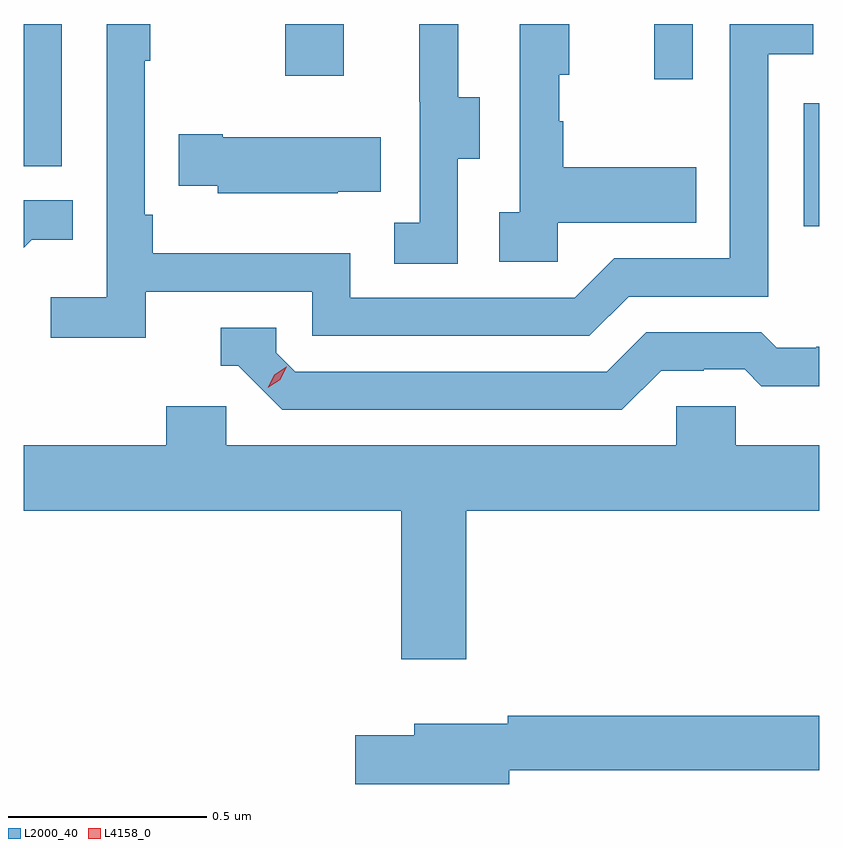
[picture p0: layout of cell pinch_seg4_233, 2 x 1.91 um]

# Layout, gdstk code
import gdstk
lib = gdstk.Library(unit=1e-6, precision=1e-09)
def R(c, l, rs):  # rectangles x0, y0, x1, y1
    for r in rs: c.add(gdstk.rectangle(r[:2], r[2:], *l))
def P(c, l, *ps):  # polygons
    for p in ps: c.add(gdstk.Polygon(p, *l))
L2000_40 = (2000, 40)
L4158_0 = (4158, 0)

pinch_seg4_233 = lib.new_cell('pinch_seg4_233')
R(pinch_seg4_233, L2000_40, [(1017.168,832.167,1017.207,832.476), (1015.207,832.317,1015.303,832.675), (1016.792,832.536,1016.889,832.675), (1015.864,832.545,1016.011,832.675)])
P(pinch_seg4_233, L2000_40, [(1016.55,832.175),(1016.897,832.175),(1016.897,832.315),(1016.563,832.315),(1016.563,832.43),(1016.553,832.43),(1016.553,832.548),(1016.578,832.548),(1016.578,832.675),(1016.454,832.675),(1016.454,832.202),(1016.403,832.202),(1016.403,832.077),(1016.55,832.077)],
  [(1015.514,832.002),(1015.932,832.002),(1015.932,831.891),(1016.629,831.891),(1016.728,831.99),(1017.078,831.99),(1017.078,832.599),(1017.191,832.599),(1017.191,832.675),(1016.982,832.675),(1016.982,832.086),(1016.691,832.086),(1016.592,831.987),(1016.028,831.987),(1016.028,832.099),(1015.532,832.099),(1015.532,832.195),(1015.512,832.195),(1015.512,832.583),(1015.525,832.583),(1015.525,832.675),(1015.416,832.675),(1015.416,831.988),(1015.275,831.988),(1015.275,831.886),(1015.514,831.886)],
  [(1016.298,832.336),(1016.353,832.336),(1016.353,832.491),(1016.299,832.491),(1016.299,832.675),(1016.201,832.675),(1016.201,832.479),(1016.202,832.479),(1016.202,832.175),(1016.139,832.175),(1016.139,832.072),(1016.298,832.072)],
  [(1015.997,832.253),(1016.105,832.253),(1016.105,832.39),(1015.708,832.39),(1015.708,832.398),(1015.597,832.398),(1015.597,832.268),(1015.695,832.268),(1015.695,832.25),(1015.997,832.25)],
  [(1015.227,832.133),(1015.331,832.133),(1015.331,832.232),(1015.207,832.232),(1015.207,832.113)],
  [(1016.809,831.804),(1016.916,831.804),(1016.916,831.807),(1017.019,831.807),(1017.061,831.765),(1017.207,831.765),(1017.207,831.864),(1017.199,831.864),(1017.199,831.861),(1017.1,831.861),(1017.061,831.9),(1016.772,831.9),(1016.673,831.801),(1015.89,831.801),(1015.842,831.849),(1015.842,831.912),(1015.703,831.912),(1015.703,831.816),(1015.746,831.816),(1015.857,831.705),(1016.71,831.705)],
  [(1016.32,831.452),(1017.207,831.452),(1017.207,831.616),(1016.997,831.616),(1016.997,831.714),(1016.847,831.714),(1016.847,831.616),(1015.716,831.616),(1015.716,831.714),(1015.565,831.714),(1015.565,831.616),(1015.207,831.616),(1015.207,831.452),(1016.156,831.452),(1016.156,831.078),(1016.32,831.078)],
  [(1016.428,830.8),(1017.207,830.8),(1017.207,830.936),(1016.424,830.936),(1016.424,830.917),(1016.189,830.917),(1016.189,830.887),(1016.04,830.887),(1016.04,830.765),(1016.428,830.765)])
P(pinch_seg4_233, L4158_0, [(1015.821,831.761),(1015.821,831.761),(1015.837,831.794),(1015.867,831.814),(1015.868,831.814),(1015.868,831.814),(1015.852,831.781),(1015.821,831.761)])

lib.write_gds('pinch_seg4_233.gds')
